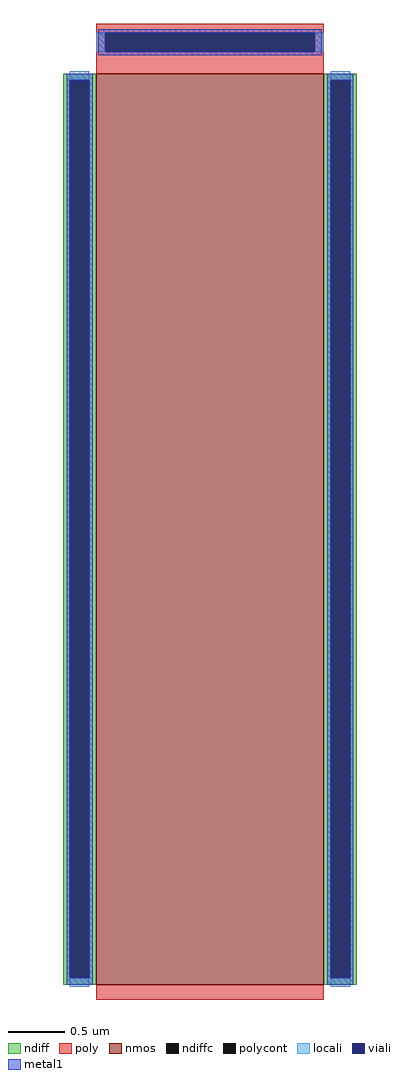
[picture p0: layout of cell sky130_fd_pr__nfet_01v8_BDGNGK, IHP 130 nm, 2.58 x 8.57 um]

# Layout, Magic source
magic
tech ihp-sg13cmos5l
magscale 1 2
<< nmos >>
rect -200 -831 200 769
<< ndiff >>
rect -258 757 -200 769
rect -258 -819 -246 757
rect -212 -819 -200 757
rect -258 -831 -200 -819
rect 200 757 258 769
rect 200 -819 212 757
rect 246 -819 258 757
rect 200 -831 258 -819
<< ndiffc >>
rect -246 -819 -212 757
rect 212 -819 246 757
<< poly >>
rect -200 841 200 857
rect -200 807 -184 841
rect 184 807 200 841
rect -200 769 200 807
rect -200 -857 200 -831
<< polycont >>
rect -184 807 184 841
<< locali >>
rect -200 807 -184 841
rect 184 807 200 841
rect -246 757 -212 773
rect -246 -835 -212 -819
rect 212 757 246 773
rect 212 -835 246 -819
<< viali >>
rect -184 807 184 841
rect -246 -819 -212 757
rect 212 -819 246 757
<< metal1 >>
rect -196 841 196 847
rect -196 807 -184 841
rect 184 807 196 841
rect -196 801 196 807
rect -252 757 -206 769
rect -252 -819 -246 757
rect -212 -819 -206 757
rect -252 -831 -206 -819
rect 206 757 252 769
rect 206 -819 212 757
rect 246 -819 252 757
rect 206 -831 252 -819
<< properties >>
string gencell sky130_fd_pr__nfet_01v8
string library sky130
string parameters w 8 l 2 m 1 nf 1 diffcov 100 polycov 100 guard 0 glc 0 grc 0 gtc 0 gbc 0 tbcov 100 rlcov 100 topc 1 botc 0 poverlap 0 doverlap 1 lmin 0.15 wmin 0.42 compatible {sky130_fd_pr__nfet_01v8 sky130_fd_pr__nfet_01v8_lvt  sky130_fd_bs_flash__special_sonosfet_star  sky130_fd_pr__nfet_g5v0d10v5 sky130_fd_pr__nfet_05v0_nvt  sky130_fd_pr__nfet_03v3_nvt} full_metal 0 viasrc 100 viadrn 100 viagate 100 viagb 0 viagr 0 viagl 0 viagt 0
<< end >>
